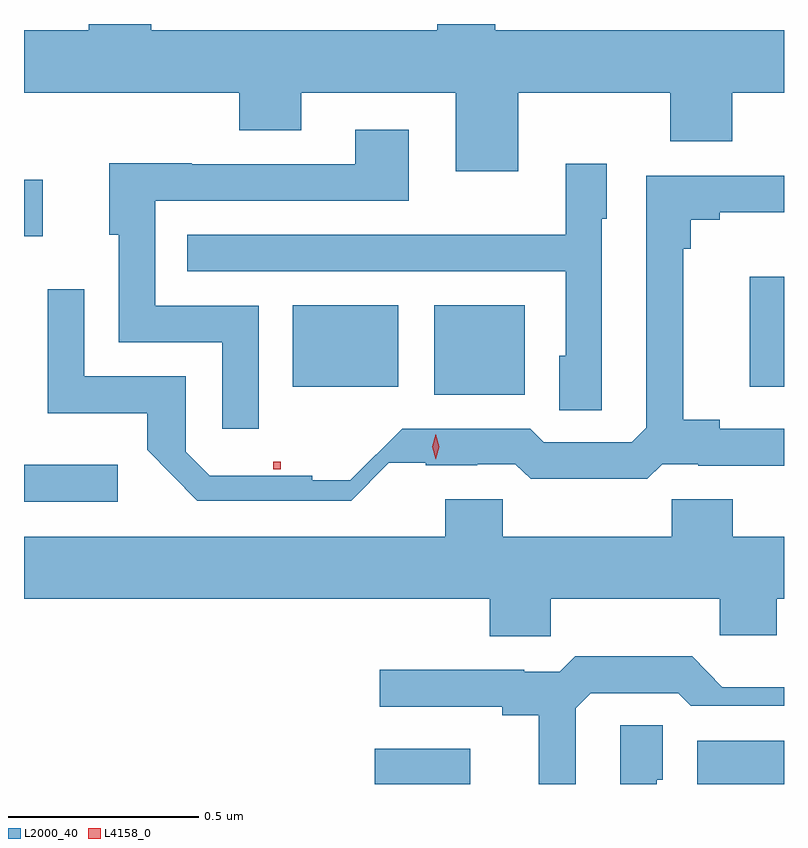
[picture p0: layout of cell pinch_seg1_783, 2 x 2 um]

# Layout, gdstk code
import gdstk
lib = gdstk.Library(unit=1e-6, precision=1e-09)
def R(c, l, rs):  # rectangles x0, y0, x1, y1
    for r in rs: c.add(gdstk.rectangle(r[:2], r[2:], *l))
def P(c, l, *ps):  # polygons
    for p in ps: c.add(gdstk.Polygon(p, *l))
L2000_40 = (2000, 40)
L4158_0 = (4158, 0)

pinch_seg1_783 = lib.new_cell('pinch_seg1_783')
R(pinch_seg1_783, L2000_40, [(832.022,540.589,832.273,540.682), (832.871,540.589,833.099,540.703), (831.099,541.332,831.346,541.429), (832.178,541.613,832.417,541.849), (831.806,541.634,832.084,541.849), (833.009,541.634,833.099,541.924), (831.099,542.03,831.148,542.179)])
P(pinch_seg1_783, L2000_40, [(832.399,542.408),(832.799,542.408),(832.799,542.28),(832.963,542.28),(832.963,542.408),(833.099,542.408),(833.099,542.572),(832.339,542.572),(832.339,542.589),(832.187,542.589),(832.187,542.572),(831.434,542.572),(831.434,542.589),(831.269,542.589),(831.269,542.572),(831.099,542.572),(831.099,542.408),(831.665,542.408),(831.665,542.309),(831.829,542.309),(831.829,542.408),(832.235,542.408),(832.235,542.202),(832.399,542.202)],
  [(831.717,541.848),(831.444,541.848),(831.444,542.124),(832.111,542.124),(832.111,542.311),(831.971,542.311),(831.971,542.22),(831.541,542.22),(831.541,542.222),(831.323,542.222),(831.323,542.034),(831.348,542.034),(831.348,541.752),(831.621,541.752),(831.621,541.524),(831.717,541.524)],
  [(832.62,542.076),(832.633,542.076),(832.633,542.221),(832.524,542.221),(832.524,542.035),(832.207,542.035),(832.207,542.034),(831.529,542.034),(831.529,541.938),(832.524,541.938),(832.524,541.716),(832.508,541.716),(832.508,541.573),(832.62,541.573)],
  [(832.059,541.434),(832.156,541.434),(832.156,541.428),(832.292,541.428),(832.292,541.431),(832.392,541.431),(832.432,541.392),(832.739,541.392),(832.779,541.431),(832.873,541.431),(832.873,541.427),(833.099,541.427),(833.099,541.524),(832.93,541.524),(832.93,541.547),(832.834,541.547),(832.834,541.997),(832.853,541.997),(832.853,542.074),(832.93,542.074),(832.93,542.093),(833.099,542.093),(833.099,542.19),(832.737,542.19),(832.737,541.527),(832.698,541.488),(832.467,541.488),(832.431,541.524),(832.094,541.524),(831.958,541.388),(831.858,541.388),(831.858,541.4),(831.588,541.4),(831.525,541.463),(831.525,541.662),(831.258,541.662),(831.258,541.891),(831.162,541.891),(831.162,541.565),(831.423,541.565),(831.423,541.468),(831.555,541.335),(831.96,541.335)],
  [(832.485,541.076),(832.93,541.076),(832.93,540.981),(833.08,540.981),(833.08,541.076),(833.099,541.076),(833.099,541.24),(832.964,541.24),(832.964,541.338),(832.804,541.338),(832.804,541.24),(832.359,541.24),(832.359,541.338),(832.208,541.338),(832.208,541.24),(831.099,541.24),(831.099,541.076),(832.325,541.076),(832.325,540.978),(832.485,540.978)],
  [(832.551,540.789),(832.59,540.828),(832.821,540.828),(832.854,540.795),(833.099,540.795),(833.099,540.844),(832.937,540.844),(832.857,540.925),(832.549,540.925),(832.509,540.885),(832.415,540.885),(832.415,540.89),(832.035,540.89),(832.035,540.792),(832.358,540.792),(832.358,540.77),(832.454,540.77),(832.454,540.589),(832.551,540.589)],
  [(832.764,540.6),(832.78,540.6),(832.78,540.743),(832.668,540.743),(832.668,540.589),(832.764,540.589)])
R(pinch_seg1_783, L4158_0, [(831.755,541.417,831.775,541.437)])
P(pinch_seg1_783, L4158_0, [(832.182,541.443),(832.182,541.443),(832.173,541.477),(832.183,541.51),(832.183,541.51),(832.183,541.51),(832.192,541.476),(832.182,541.443)])

lib.write_gds('pinch_seg1_783.gds')
